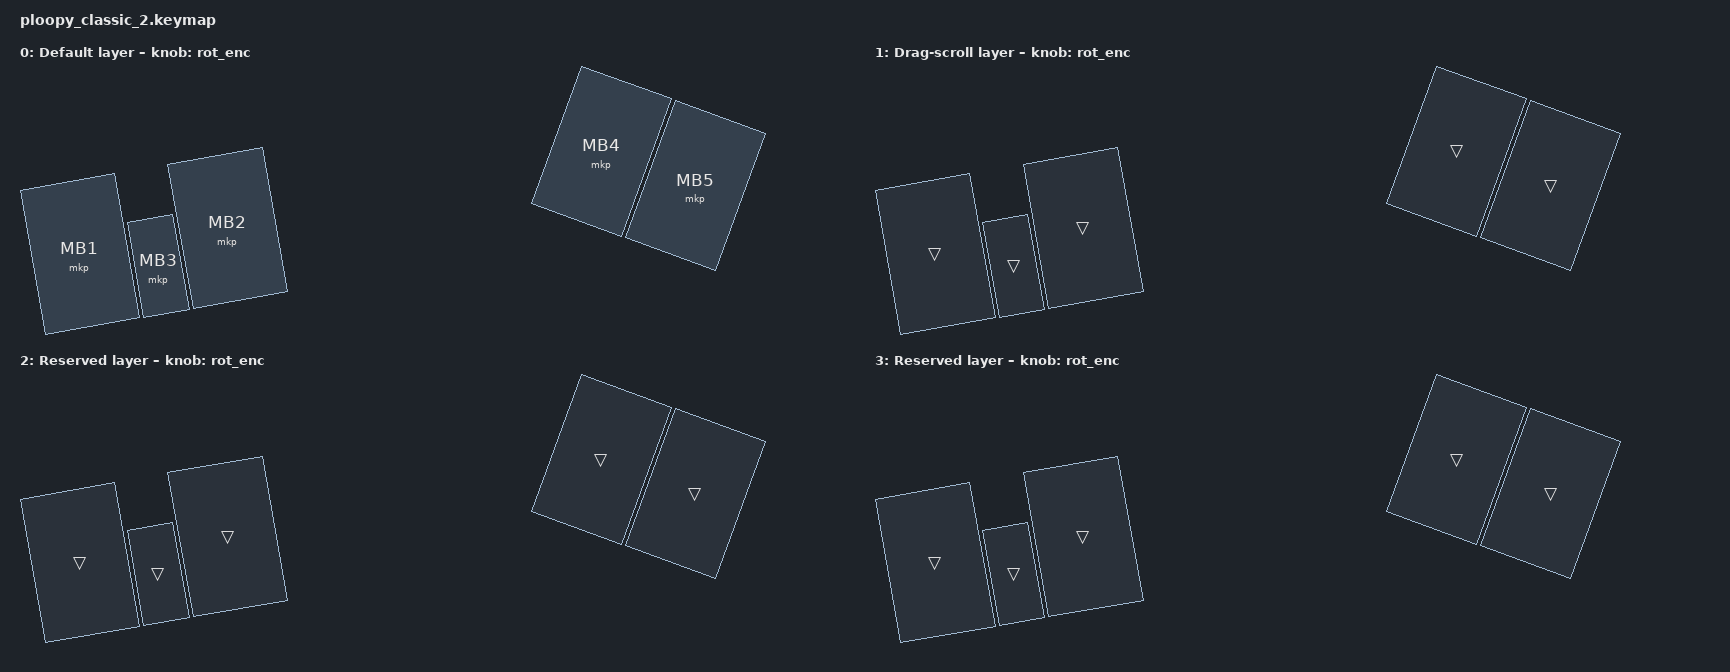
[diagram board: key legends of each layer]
// Copyright (c) 2025 George Norton
// SPDX-License-Identifier: MIT

#include <behaviors.dtsi>
#include <behaviors/mouse_keys.dtsi>
#include <behaviors/mouse_move.dtsi>
#include <dt-bindings/zmk/keys.h>
#include <dt-bindings/zmk/mouse.h>
#include <input/processors.dtsi>

#define BASE 0
#define SCROLL 1
#define RESERVED1 2
#define RESERVED2 3

/ {
    // Enable drag scroll is the SCROLL layer is active
    mouse_listener {
        input-processors = <&zip_xy_scaler 3 2>;

        scroller {
            layers = <SCROLL>;
            input-processors = <&zip_xy_to_scroll_mapper>;
        };
    };

    behaviors {
        // Scroll wheel behaviour, taken from badjeff
        ec_s: mouse_scroll {
                compatible = "zmk,behavior-input-two-axis";
                #binding-cells = <1>;
                x-input-code = <INPUT_REL_HWHEEL>;
                y-input-code = <INPUT_REL_WHEEL>;
                time-to-max-speed-ms = <177>;
                acceleration-exponent = <0>;
        };
        rot_enc: sensor_rotate {
                compatible = "zmk,behavior-sensor-rotate";
                #sensor-binding-cells = <0>;
                bindings = <&ec_s MOVE_Y(-37)>, <&ec_s MOVE_Y(37)>;
                tap-ms = <65>;
        };
        // Modified layer tap that supports mouse keys.
        lmkt: layer_tap {
            compatible = "zmk,behavior-hold-tap";
            #binding-cells = <2>;
            flavor = "tap-preferred";
            tapping-term-ms = <200>;
            bindings = <&mo>, <&mkp>;
            display-name = "Layer-Tap";
        };
        // Behaviour to cycle through DPI values on a keypress
        dpi_cycle: sensor_dpi_cycle {
            compatible = "zmk,behavior-sensor-attr-cycle";
            #binding-cells = <1>;
            values = < 100 300 600 900 1200 >;
            attr = <0>;
            sensor_device = <&mouse>;
            display-name = "DPI cycle";
            persistant;
        };
    };

    combos {
        compatible = "zmk,combos";
        combo_bootloader {
            timeout-ms = <500>;
            key-positions = <3 4>;
            bindings = <&bootloader>;
        };
        combo_studio_unlock {
            timeout-ms = <500>;
            key-positions = <0 2>;
            bindings = <&studio_unlock>;
        };
    };

    keymap {
        compatible = "zmk,keymap";

        base_layer {
            bindings = <
                &mkp MB1    &mkp MB3    &mkp MB2    &mkp MB4    &mkp MB5
            >;
            sensor-bindings = < &rot_enc >;
             display-name = "Default layer";
        };

        scroll_layer {
            bindings = <
                &trans  &trans  &trans  &trans  &trans
            >;
            sensor-bindings = < &rot_enc >;
            display-name = "Drag-scroll layer";
        };

        reserved_layer_1 {
            bindings = <
                &trans  &trans  &trans  &trans  &trans
            >;
            sensor-bindings = < &rot_enc >;
            display-name = "Reserved layer";
        };

        reserved_layer_2 {
            bindings = <
                &trans  &trans  &trans  &trans  &trans
            >;
            sensor-bindings = < &rot_enc >;
            display-name = "Reserved layer";
        };
    };
};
